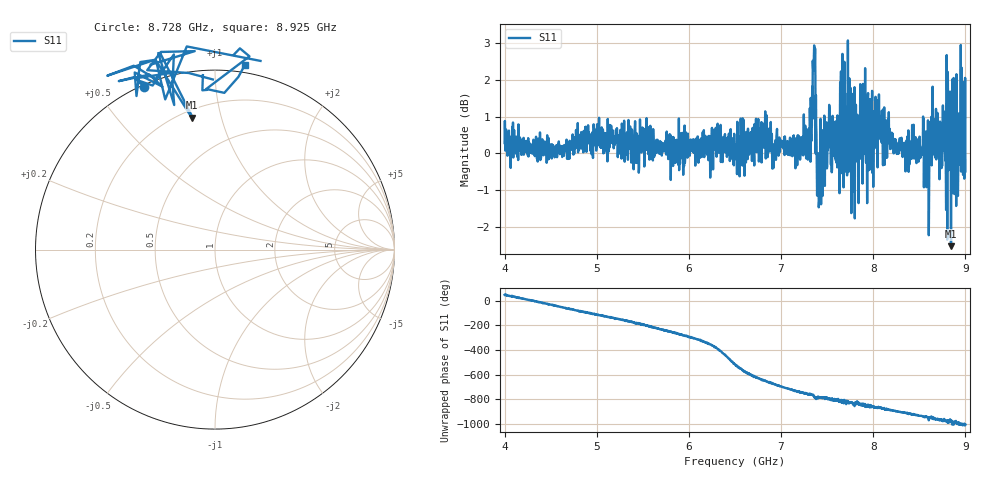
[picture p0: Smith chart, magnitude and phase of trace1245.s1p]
! Created with skrf 1.8.0 (http://scikit-rf.org).
# Hz S RI R 50.0
!freq ReS11 ImS11
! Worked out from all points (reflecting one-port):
!   1601 points, 4 GHz to 9 GHz, reference 50 ohm
!   lowest |S11| = -2.5 dB at 8.844 GHz (marker M1), VSWR 6.91, Z = 12.1 + j40.5 ohm
!   phase of S11 starts at 49 deg and turns -1053 deg over the sweep
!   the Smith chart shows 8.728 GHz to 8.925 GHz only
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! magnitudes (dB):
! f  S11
! 4 GHz  0.3
! 4.625 GHz  -0.1
! 5.25 GHz  0.0
! 5.875 GHz  0.1
! 6.319 GHz  0.5
! 6.5 GHz  -0.1
! 6.803 GHz  0.7
! 6.922 GHz  -0.1
! 7.125 GHz  0.1
! 7.294 GHz  -0.1
! 7.347 GHz  2.3
! 7.369 GHz  2.9
! 7.4 GHz  -0.5
! 7.416 GHz  -1.2
! 7.509 GHz  0.7
! 7.609 GHz  -0.4
! 7.662 GHz  0.4
! 7.75 GHz  -0.3
! 7.775 GHz  0.7
! 8.05 GHz  0.8
! 8.375 GHz  0.1
! 8.584 GHz  0.4
! 8.634 GHz  -0.3
! 8.725 GHz  0.9
! 8.816 GHz  -0.5
! 8.844 GHz  -2.5
! 8.972 GHz  0.2
! 9 GHz  -0.5
